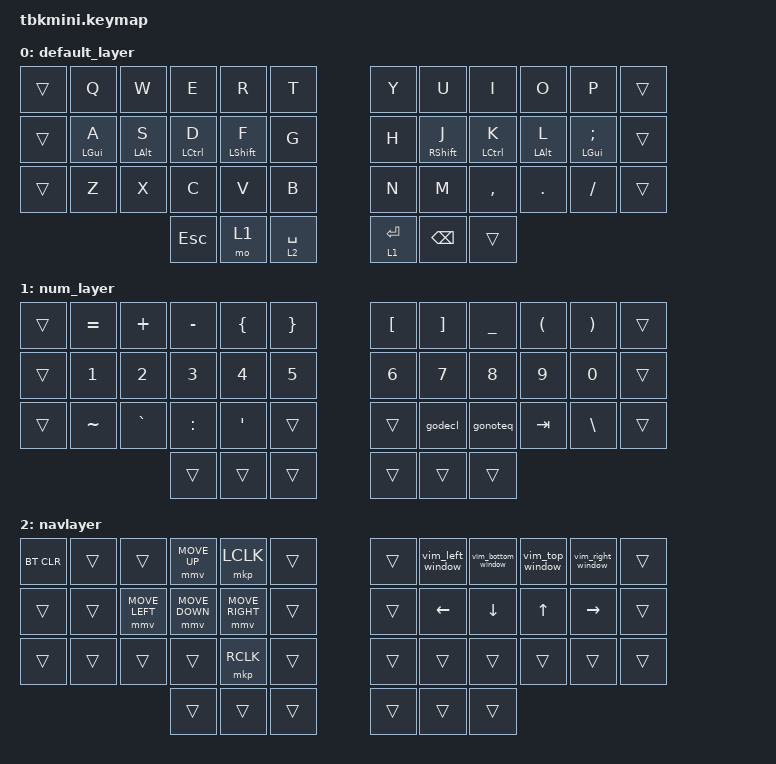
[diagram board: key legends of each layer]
#include <dt-bindings/zmk/mouse.h>
#include <behaviors.dtsi>
#include <dt-bindings/zmk/keys.h>
#include "../42.h"
#include "../include/zmk-helpers/helper.h"
#include <dt-bindings/zmk/bt.h>

#define DEFAULT 0
#define NUM 1
#define SYM 2

/* Global defaults */





#define QUICK_TAP_MS 175





&sk {


  release-after-ms = <900>;


  quick-release;


};





&sl { // Allow sticky mods to chord across sticky layers.


  ignore-modifiers;


};





&lt {


  flavor = "balanced";


  tapping-term-ms = <200>;


  quick-tap-ms = <QUICK_TAP_MS>;


};

#define KEYS_L LT0 LT1 LT2 LT3 LT4 LM0 LM1 LM2 LM3 LM4 LB0 LB1 LB2 LB3 LB4  // left-hand keys
#define KEYS_R RT0 RT1 RT2 RT3 RT4 RM0 RM1 RM2 RM3 RM4 RB0 RB1 RB2 RB3 RB4  // right-hand keys
#define THUMBS LH2 LH1 LH0 RH0 RH1 RH2                                      // thumb keys

#define MAKE_HRM(NAME, HOLD, TAP, TRIGGER_POS)                                 \
  ZMK_HOLD_TAP(NAME, bindings = <HOLD>, <TAP>; flavor = "balanced";            \
               tapping-term-ms = <280>; quick-tap-ms = <QUICK_TAP_MS>;         \
               require-prior-idle-ms = <75>; hold-trigger-on-release;         \
               hold-trigger-key-positions = <TRIGGER_POS>;)

MAKE_HRM(hml, &kp, &kp, KEYS_R THUMBS) // Left-hand HRMs.
MAKE_HRM(hmr, &kp, &kp, KEYS_L THUMBS) // Right-hand HRMs.

// Hack: Make HRM combos tap-only (cf, ZMK issue #544).
#define ZMK_COMBO_8(NAME, TAP, POS, LAYERS, COMBO_MS, IDLE_MS, HOLD, SIDE)     \
  MAKE_HRM(hm_combo_##NAME, &kp, TAP, SIDE THUMBS)                             \
  ZMK_COMBO_6(NAME, &hm_combo_##NAME HOLD 0, POS, LAYERS, COMBO_MS, IDLE_MS)

&lt {
    tapping-term-ms = <300>;
    quick_tap_ms = <200>;
    flavor = "hold-preferred";
};

&caps_word { continue-list = <UNDERSCORE MINUS BACKSPACE DELETE>; };

/ {
    chosen { zmk,matrix_transform = &default_transform; };

    macros {
        godecl: new_macro {
            compatible = "zmk,behavior-macro";
            #binding-cells = <0>;
            bindings = <&kp COLON &kp EQUAL>;
            label = "NEW_MACRO";
        };

        gonoteq: gonoteq {
            compatible = "zmk,behavior-macro";
            #binding-cells = <0>;
            bindings = <&kp EXCL &kp EQUAL>;
            label = "GONOTEQ";
        };

        vim_left_window: vim_left_window {
            compatible = "zmk,behavior-macro";
            #binding-cells = <0>;
            bindings = <&macro_press &kp LCTRL>, <&macro_tap &kp W>, <&macro_release &kp LCTRL>, <&macro_tap &kp LEFT_ARROW>;
            label = "VIM_LEFT_WINDOW";
        };

        vim_right_window: vim_right_window {
            compatible = "zmk,behavior-macro";
            #binding-cells = <0>;
            bindings = <&macro_press &kp LCTRL>, <&macro_tap &kp W>, <&macro_release &kp LCTRL>, <&macro_tap &kp RIGHT_ARROW>;
            label = "VIM_RIGHT_WINDOW";
        };

        vim_top_window: vim_top_window {
            compatible = "zmk,behavior-macro";
            #binding-cells = <0>;
            bindings = <&macro_press &kp LCTRL>, <&macro_tap &kp W>, <&macro_release &kp LCTRL>, <&macro_tap &kp UP_ARROW>;
            label = "VIM_TOP_WINDOW";
        };

        vim_bottom_window: vim_bottom_window {
            compatible = "zmk,behavior-macro";
            #binding-cells = <0>;
            bindings = <&macro_press &kp LCTRL>, <&macro_tap &kp W>, <&macro_release &kp LCTRL>, <&macro_tap &kp DOWN_ARROW>;
            label = "VIM_BOTTOM_WINDOW";
        };
    };

    keymap {
        compatible = "zmk,keymap";

        default_layer {
            bindings = <
&trans  &kp Q        &kp W        &kp E         &kp R  &kp T              &kp Y        &kp U          &kp I         &kp O        &kp P           &trans
&trans  &hml LGUI A  &hml LALT S  &hml LCTRL D  &hml LSHFT F &kp G        &kp H       &hmr RSHFT J   &hmr LCTRL K   &hmr LALT L  &hmr LGUI SEMI  &trans
&trans  &kp Z        &kp X        &kp C         &kp V  &kp B              &kp N        &kp M          &kp COMMA     &kp DOT      &kp FSLH        &trans
                     &kp ESCAPE  &mo 1  &lt 2 SPACE                       &lt 1 ENTER  &kp BACKSPACE  &trans
            >;
        };

        num_layer {
            bindings = <
&trans  &kp EQUAL  &kp PLUS   &kp MINUS  &kp LEFT_BRACE  &kp RIGHT_BRACE    &kp LEFT_BRACKET  &kp RIGHT_BRACKET  &kp UNDER  &kp LPAR  &kp RPAR  &trans
&trans  &kp N1     &kp N2     &kp N3     &kp N4          &kp N5             &kp N6            &kp N7             &kp N8     &kp N9    &kp N0    &trans
&trans  &kp TILDE  &kp GRAVE  &kp COLON     &kp SQT      &trans             &trans            &godecl            &gonoteq   &kp TAB    &kp BACKSLASH    &trans
                              &trans     &trans          &trans             &trans            &trans             &trans
            >;
        };

        navlayer {
            bindings = <
&bt BT_CLR  &trans  &trans          &mmv MOVE_UP    &mkp LCLK        &trans    &trans  &vim_left_window &vim_bottom_window  &vim_top_window  &vim_right_window     &trans
&trans  &trans  &mmv MOVE_LEFT  &mmv MOVE_DOWN  &mmv MOVE_RIGHT  &trans    &trans  &kp LEFT_ARROW   &kp DOWN            &kp UP_ARROW     &kp RIGHT  &trans
&trans  &trans  &trans          &trans          &mkp RCLK        &trans    &trans  &trans           &trans              &trans           &trans     &trans
                                &trans          &trans           &trans    &trans  &trans           &trans
            >;
        };
    };
};
